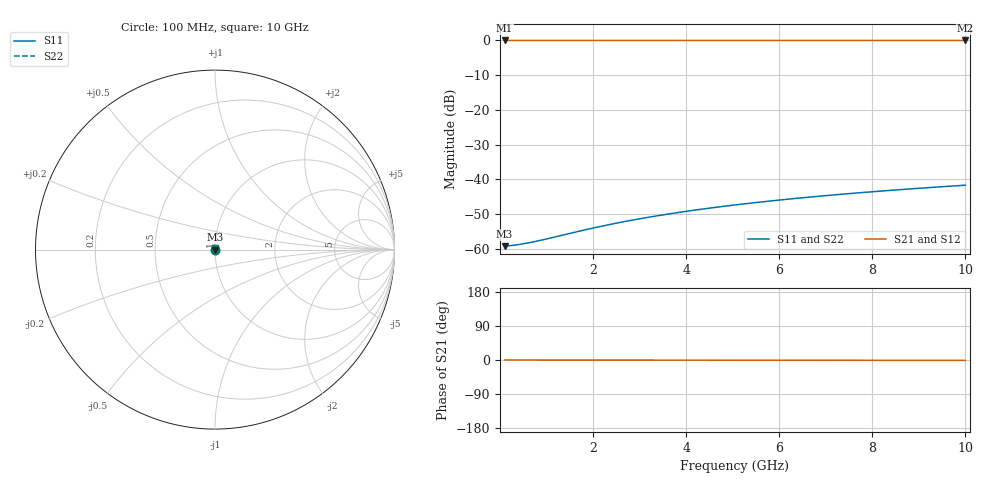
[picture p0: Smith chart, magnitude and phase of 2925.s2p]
# Hz S RI R 50.00
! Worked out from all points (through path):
!   100 points, 100 MHz to 10 GHz, reference 50 ohm
!   highest |S21| = -0.01 dB at 100 MHz (marker M1); lowest = 0.0 dB at 10 GHz (marker M2)
!   lowest |S11| = -59.2 dB at 100 MHz (marker M3), VSWR 1.00, Z = 50.1 + j0.00815 ohm
!   |S11| at or under -10 dB: start of sweep to end of sweep
!   |S22| runs from -59.2 to -41.7 dB; largest |S21 - S12| = 0
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1e8  0.00109 8.13e-05  0.9989 -0.000186  0.9989 -0.000186  0.00109 8.13e-05
3e8  0.0011 0.000244  0.9989 -0.000559  0.9989 -0.000559  0.0011 0.000244
4e8  0.0011 0.000325  0.9989 -0.000745  0.9989 -0.000745  0.0011 0.000325
5e8  0.00111 0.000406  0.9989 -0.000931  0.9989 -0.000931  0.00111 0.000406
7e8  0.00111 0.000569  0.9989 -0.0013  0.9989 -0.0013  0.00111 0.000569
1e9  0.00112 0.000813  0.9989 -0.00186  0.9989 -0.00186  0.00112 0.000813
1.8e9  0.00114 0.00146  0.9989 -0.00335  0.9989 -0.00335  0.00114 0.00146
2.2e9  0.00115 0.00179  0.9988 -0.0041  0.9988 -0.0041  0.00115 0.00179
2.6e9  0.00116 0.00211  0.9988 -0.00484  0.9988 -0.00484  0.00116 0.00211
3e9  0.00116 0.00244  0.9988 -0.00559  0.9988 -0.00559  0.00116 0.00244
3.4e9  0.00117 0.00276  0.9988 -0.00633  0.9988 -0.00633  0.00117 0.00276
3.8e9  0.00118 0.00309  0.9988 -0.00708  0.9988 -0.00708  0.00118 0.00309
4.2e9  0.00119 0.00341  0.9988 -0.00782  0.9988 -0.00782  0.00119 0.00341
4.6e9  0.0012 0.00374  0.9988 -0.00856  0.9988 -0.00856  0.0012 0.00374
5.1e9  0.00121 0.00414  0.9988 -0.0095  0.9988 -0.0095  0.00121 0.00414
5.5e9  0.00122 0.00447  0.9988 -0.0102  0.9988 -0.0102  0.00122 0.00447
5.9e9  0.00123 0.00479  0.9987 -0.011  0.9987 -0.011  0.00123 0.00479
6.7e9  0.00125 0.00544  0.9987 -0.0125  0.9987 -0.0125  0.00125 0.00544
7.5e9  0.00127 0.00609  0.9987 -0.014  0.9987 -0.014  0.00127 0.00609
8.4e9  0.0013 0.00682  0.9987 -0.0156  0.9987 -0.0156  0.0013 0.00682
9.2e9  0.00133 0.00747  0.9986 -0.0171  0.9986 -0.0171  0.00133 0.00747
1e10  0.00136 0.00812  0.9986 -0.0186  0.9986 -0.0186  0.00136 0.00812
